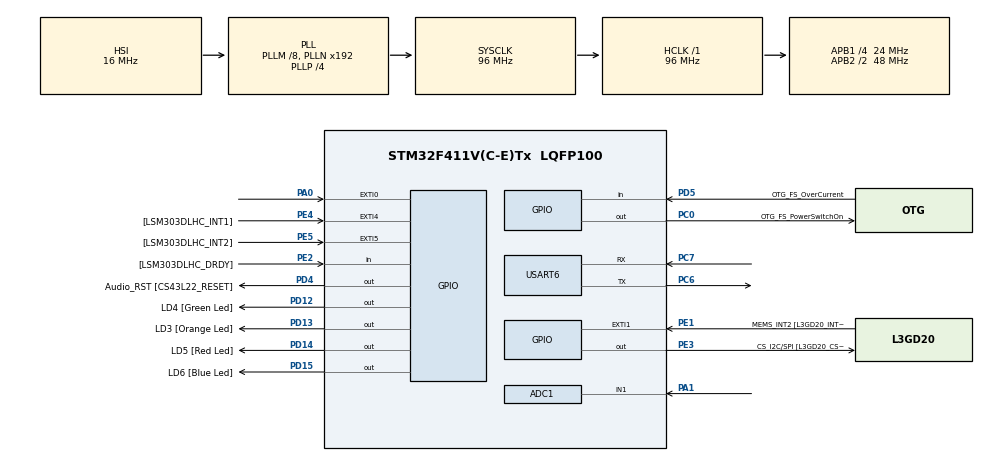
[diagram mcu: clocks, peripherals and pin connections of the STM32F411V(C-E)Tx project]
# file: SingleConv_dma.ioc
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ADC1.Channel-5\#ChannelRegularConversion=ADC_CHANNEL_1
ADC1.DMAContinuousRequests=ENABLE
ADC1.NbrOfConversionFlag=1
ADC1.Rank-5\#ChannelRegularConversion=1
ADC1.Resolution=ADC_RESOLUTION8b
ADC1.SamplingTime-5\#ChannelRegularConversion=ADC_SAMPLETIME_15CYCLES
ADC1.master=1
Dma.ADC1.0.Channel=DMA_CHANNEL_0
Dma.ADC1.0.Direction=DMA_PERIPH_TO_MEMORY
Dma.ADC1.0.FIFOMode=DMA_FIFOMODE_DISABLE
Dma.ADC1.0.Instance=DMA2_Stream0
Dma.ADC1.0.MemDataAlignment=DMA_MDATAALIGN_HALFWORD
Dma.ADC1.0.MemInc=DMA_MINC_ENABLE
Dma.ADC1.0.Mode=DMA_NORMAL
Dma.ADC1.0.PeriphDataAlignment=DMA_PDATAALIGN_HALFWORD
Dma.ADC1.0.PeriphInc=DMA_PINC_DISABLE
Dma.ADC1.0.Priority=DMA_PRIORITY_LOW
Dma.Request0=ADC1
Mcu.Family=STM32F4
Mcu.Name=STM32F411V(C-E)Tx
Mcu.Package=LQFP100
NVIC.ADC_IRQn=true\:0\:0\:false
NVIC.DMA2_Stream0_IRQn=true\:0\:0\:false
NVIC.PriorityGroup=NVIC_PRIORITYGROUP_0
PA0-WKUP.GPIO_ModeDefaultEXTI=GPIO_MODE_EVT_RISING
PA0-WKUP.Signal=GPXTI0
PA1.Signal=ADCx_IN1
PA10.GPIO_Label=OTG_FS_ID
PA10.Signal=USB_OTG_FS_ID
PA11.GPIO_Label=OTG_FS_DM
PA11.Signal=USB_OTG_FS_DM
PA12.GPIO_Label=OTG_FS_DP
PA12.Signal=USB_OTG_FS_DP
PA13.GPIO_Label=SWDIO
PA13.Signal=SYS_JTMS-SWDIO
PA14.GPIO_Label=SWCLK
PA14.Signal=SYS_JTCK-SWCLK
PA4.GPIO_Label=I2S3_WS [CS43L22_LRCK]
PA4.GPIO_Mode=GPIO_MODE_AF_PP
PA4.GPIO_PuPd=GPIO_NOPULL
PA4.GPIO_Speed=GPIO_SPEED_LOW
PA4.Signal=I2S3_WS
PA5.GPIO_Label=SPI1_SCK [L3GD20_SC/SPC]
PA5.Signal=SPI1_SCK
PA6.GPIO_Label=SPI1_MISO [L3GD20_AS0/SDO]
PA6.Signal=SPI1_MISO
PA7.GPIO_Label=SPI1_MOSI [L3GD20_SDA/SDI/SDO]
PA7.Signal=SPI1_MOSI
PA9.GPIO_Label=VBUS_FS
PA9.Signal=USB_OTG_FS_VBUS
PB10.GPIO_Label=CLK_IN [MP45DT02_CLK]
PB10.Signal=I2S2_CK
PB12.Signal=I2S2_WS
PB3.GPIO_Label=SWO
PB3.Signal=SYS_JTDO-SWO
PB6.GPIO_Label=Audio_SCL [CS43L22_SCL]
PB6.GPIO_Mode=GPIO_MODE_AF_OD
PB6.GPIO_PuPd=GPIO_NOPULL
PB6.GPIO_Speed=GPIO_SPEED_LOW
PB6.Signal=I2C1_SCL
PB9.GPIO_Label=Audio_SDA [CS43L22_SDA]
PB9.GPIO_Mode=GPIO_MODE_AF_OD
PB9.GPIO_PuPd=GPIO_NOPULL
PB9.GPIO_Speed=GPIO_SPEED_LOW
PB9.Signal=I2C1_SDA
PC0.GPIO_Label=OTG_FS_PowerSwitchOn
PC0.Signal=GPIO_Output
PC10.GPIO_Label=I2S3_SCK [CS43L22_SCLK]
PC10.GPIO_Mode=GPIO_MODE_AF_PP
PC10.GPIO_PuPd=GPIO_NOPULL
PC10.GPIO_Speed=GPIO_SPEED_LOW
PC10.Signal=I2S3_CK
PC12.GPIO_Label=I2S3_SD [CS43L22_SDIN]
PC12.GPIO_Mode=GPIO_MODE_AF_PP
PC12.GPIO_PuPd=GPIO_NOPULL
PC12.GPIO_Speed=GPIO_SPEED_LOW
PC12.Signal=I2S3_SD
PC14-OSC32_IN.GPIO_Label=PC14-OSC32_IN
PC14-OSC32_IN.Signal=RCC_OSC32_IN
PC15-OSC32_OUT.GPIO_Label=PC15-OSC32_OUT
PC15-OSC32_OUT.Signal=RCC_OSC32_OUT
PC3.GPIO_Label=PDM_OUT [MP45DT02_DOUT]
PC3.Signal=I2S2_SD
PC6.Mode=Asynchronous
PC6.Signal=USART6_TX
PC7.Mode=Asynchronous
PC7.Signal=USART6_RX
PD12.GPIO_Label=LD4 [Green Led]
PD12.GPIO_PuPd=GPIO_NOPULL
PD12.GPIO_Speed=GPIO_SPEED_LOW
PD12.Signal=GPIO_Output
PD13.GPIO_Label=LD3 [Orange Led]
PD13.GPIO_PuPd=GPIO_NOPULL
PD13.GPIO_Speed=GPIO_SPEED_LOW
PD13.Signal=GPIO_Output
PD14.GPIO_Label=LD5 [Red Led]
PD14.GPIO_PuPd=GPIO_NOPULL
PD14.GPIO_Speed=GPIO_SPEED_LOW
PD14.Signal=GPIO_Output
PD15.GPIO_Label=LD6 [Blue Led]
PD15.GPIO_PuPd=GPIO_NOPULL
PD15.GPIO_Speed=GPIO_SPEED_LOW
PD15.Signal=GPIO_Output
PD4.GPIO_Label=Audio_RST [CS43L22_RESET]
PD4.Signal=GPIO_Output
PD5.GPIO_Label=OTG_FS_OverCurrent
PD5.Signal=GPIO_Input
PE1.GPIO_Label=MEMS_INT2 [L3GD20_INT2]
PE1.GPIO_ModeDefaultEXTI=GPIO_MODE_EVT_RISING
PE1.Signal=GPXTI1
PE2.GPIO_Label=[LSM303DLHC_DRDY]
PE2.Signal=GPIO_Input
PE3.GPIO_Label=CS_I2C/SPI [L3GD20_CS_I2C/SPI]
PE3.Signal=GPIO_Output
PE4.GPIO_Label=[LSM303DLHC_INT1]
PE4.GPIO_ModeDefaultEXTI=GPIO_MODE_EVT_RISING
PE4.Signal=GPXTI4
PE5.GPIO_Label=[LSM303DLHC_INT2]
PE5.GPIO_ModeDefaultEXTI=GPIO_MODE_EVT_RISING
PE5.Signal=GPXTI5
PH0\ -\ OSC_IN.GPIO_Label=PH0-OSC_IN
PH0\ -\ OSC_IN.Signal=RCC_OSC_IN
PH1\ -\ OSC_OUT.GPIO_Label=PH1-OSC_OUT
PH1\ -\ OSC_OUT.Signal=RCC_OSC_OUT
ProjectManager.HeapSize=0x400
ProjectManager.StackSize=0x200
ProjectManager.TargetToolchain=TrueSTUDIO
RCC.48MHZClocksFreq_Value=48000000
RCC.AHBFreq_Value=96000000
RCC.APB1CLKDivider=RCC_HCLK_DIV4
RCC.APB1Freq_Value=24000000
RCC.APB1TimFreq_Value=48000000
RCC.APB2CLKDivider=RCC_HCLK_DIV2
RCC.APB2Freq_Value=48000000
RCC.APB2TimFreq_Value=96000000
RCC.CortexFreq_Value=96000000
RCC.HCLKFreq_Value=96000000
RCC.HSE_VALUE=8000000
RCC.HSI_VALUE=16000000
RCC.LSE_VALUE=32768
RCC.PLLI2SM=5
RCC.PLLI2SN=200
RCC.PLLM=8
RCC.PLLP=RCC_PLLP_DIV4
RCC.PLLQ=8
RCC.SYSCLKFreq_VALUE=96000000
RCC.SYSCLKSource=RCC_SYSCLKSOURCE_PLLCLK
RCC.VCOOutputFreq_Value=384000000
SH.ADCx_IN1.0=ADC1_IN1,IN1
board=STM32F411E-DISCO

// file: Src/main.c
/**
  ******************************************************************************
  * File Name          : main.c
  * Description        : Main program body
  ******************************************************************************
  *
  * COPYRIGHT(c) 2016 STMicroelectronics
  *
  * Redistribution and use in source and binary forms, with or without modification,
  * are permitted provided that the following conditions are met:
  *   1. Redistributions of source code must retain the above copyright notice,
  *      this list of conditions and the following disclaimer.
  *   2. Redistributions in binary form must reproduce the above copyright notice,
  *      this list of conditions and the following disclaimer in the documentation
  *      and/or other materials provided with the distribution.
  *   3. Neither the name of STMicroelectronics nor the names of its contributors
  *      may be used to endorse or promote products derived from this software
  *      without specific prior written permission.
  *
  * THIS SOFTWARE IS PROVIDED BY THE COPYRIGHT HOLDERS AND CONTRIBUTORS "AS IS"
  * AND ANY EXPRESS OR IMPLIED WARRANTIES, INCLUDING, BUT NOT LIMITED TO, THE
  * IMPLIED WARRANTIES OF MERCHANTABILITY AND FITNESS FOR A PARTICULAR PURPOSE ARE
  * DISCLAIMED. IN NO EVENT SHALL THE COPYRIGHT HOLDER OR CONTRIBUTORS BE LIABLE
  * FOR ANY DIRECT, INDIRECT, INCIDENTAL, SPECIAL, EXEMPLARY, OR CONSEQUENTIAL
  * DAMAGES (INCLUDING, BUT NOT LIMITED TO, PROCUREMENT OF SUBSTITUTE GOODS OR
  * SERVICES; LOSS OF USE, DATA, OR PROFITS; OR BUSINESS INTERRUPTION) HOWEVER
  * CAUSED AND ON ANY THEORY OF LIABILITY, WHETHER IN CONTRACT, STRICT LIABILITY,
  * OR TORT (INCLUDING NEGLIGENCE OR OTHERWISE) ARISING IN ANY WAY OUT OF THE USE
  * OF THIS SOFTWARE, EVEN IF ADVISED OF THE POSSIBILITY OF SUCH DAMAGE.
  *
  ******************************************************************************
  */
#include "stm32f4xx_hal.h"

/* USER CODE BEGIN Includes */
#include <string.h>
#include <stdio.h>
/* USER CODE END Includes */

ADC_HandleTypeDef hadc1;
DMA_HandleTypeDef hdma_adc1;

UART_HandleTypeDef huart6;

/* USER CODE BEGIN PV */
/* Private variables ---------------------------------------------------------*/

/* USER CODE END PV */

void SystemClock_Config(void);
static void MX_GPIO_Init(void);
static void MX_DMA_Init(void);
static void MX_ADC1_Init(void);
static void MX_USART6_UART_Init(void);

/* USER CODE BEGIN PFP */
/* Private function prototypes -----------------------------------------------*/

/* USER CODE END PFP */

int main(void)
{

  /* USER CODE BEGIN 1 */
	uint32_t dma_buffer = 0;
	uint32_t adc_buffer = 0;
	uint32_t achtbit = 255;
	char buffer[50] = {"stuff:"};
  /* USER CODE END 1 */

  /* MCU Configuration----------------------------------------------------------*/

  /* Reset of all peripherals, Initializes the Flash interface and the Systick. */
  HAL_Init();

  /* Configure the system clock */
  SystemClock_Config();

  /* Initialize all configured peripherals */
  MX_GPIO_Init();
  MX_DMA_Init();
  MX_ADC1_Init();
  MX_USART6_UART_Init();

  /* Infinite loop */
  while (1)
  {

  /* USER CODE BEGIN 3 */
	  if(HAL_GPIO_ReadPin(GPIOA,GPIO_PIN_0))
	  {
		  HAL_Delay(100);
		  HAL_ADC_Start(&hadc1);
		  HAL_ADC_Start_DMA(&hadc1, &dma_buffer, 8);
		  if(dma_buffer!= 0)
		  {
			  dma_buffer &= achtbit;
			  sprintf(buffer,"dma: %d\r\n",(int) dma_buffer);
			  HAL_UART_Transmit(&huart6,(uint8_t*) buffer,strlen(buffer),HAL_MAX_DELAY);
			  adc_buffer = HAL_ADC_GetValue(&hadc1);
			  sprintf(buffer,"adc: %d\r\n",(int) adc_buffer);
			  HAL_UART_Transmit(&huart6,(uint8_t*) buffer,strlen(buffer),HAL_MAX_DELAY);
		  }
		  else
		  {
			  HAL_UART_Transmit(&huart6,"nothing \r\n",strlen("nothing \r\n"),HAL_MAX_DELAY);
			  adc_buffer = HAL_ADC_GetValue(&hadc1);
			  sprintf(buffer,"adc: %d\r\n",(int) adc_buffer);
			  HAL_UART_Transmit(&huart6,(uint8_t*) buffer,strlen(buffer),HAL_MAX_DELAY);
		  }
	  }
  }
  /* USER CODE END 3 */

}

/** System Clock Configuration
*/
void SystemClock_Config(void)
{

  RCC_OscInitTypeDef RCC_OscInitStruct;
  RCC_ClkInitTypeDef RCC_ClkInitStruct;

  __PWR_CLK_ENABLE();

  __HAL_PWR_VOLTAGESCALING_CONFIG(PWR_REGULATOR_VOLTAGE_SCALE1);

  RCC_OscInitStruct.OscillatorType = RCC_OSCILLATORTYPE_HSI;
  RCC_OscInitStruct.HSIState = RCC_HSI_ON;
  RCC_OscInitStruct.HSICalibrationValue = 16;
  RCC_OscInitStruct.PLL.PLLState = RCC_PLL_ON;
  RCC_OscInitStruct.PLL.PLLSource = RCC_PLLSOURCE_HSI;
  RCC_OscInitStruct.PLL.PLLM = 8;
  RCC_OscInitStruct.PLL.PLLN = 192;
  RCC_OscInitStruct.PLL.PLLP = RCC_PLLP_DIV4;
  RCC_OscInitStruct.PLL.PLLQ = 8;
  HAL_RCC_OscConfig(&RCC_OscInitStruct);

  RCC_ClkInitStruct.ClockType = RCC_CLOCKTYPE_HCLK|RCC_CLOCKTYPE_SYSCLK
                              |RCC_CLOCKTYPE_PCLK1|RCC_CLOCKTYPE_PCLK2;
  RCC_ClkInitStruct.SYSCLKSource = RCC_SYSCLKSOURCE_PLLCLK;
  RCC_ClkInitStruct.AHBCLKDivider = RCC_SYSCLK_DIV1;
  RCC_ClkInitStruct.APB1CLKDivider = RCC_HCLK_DIV4;
  RCC_ClkInitStruct.APB2CLKDivider = RCC_HCLK_DIV2;
  HAL_RCC_ClockConfig(&RCC_ClkInitStruct, FLASH_LATENCY_3);

  HAL_SYSTICK_Config(HAL_RCC_GetHCLKFreq()/1000);

  HAL_SYSTICK_CLKSourceConfig(SYSTICK_CLKSOURCE_HCLK);

  /* SysTick_IRQn interrupt configuration */
  HAL_NVIC_SetPriority(SysTick_IRQn, 0, 0);
}

/* ADC1 init function */
void MX_ADC1_Init(void)
{

  ADC_ChannelConfTypeDef sConfig;

    /**Configure the global features of the ADC (Clock, Resolution, Data Alignment and number of conversion)
    */
  hadc1.Instance = ADC1;
  hadc1.Init.ClockPrescaler = ADC_CLOCKPRESCALER_PCLK_DIV2;
  hadc1.Init.Resolution = ADC_RESOLUTION8b;
  hadc1.Init.ScanConvMode = DISABLE;
  hadc1.Init.ContinuousConvMode = DISABLE;
  hadc1.Init.DiscontinuousConvMode = DISABLE;
  hadc1.Init.ExternalTrigConvEdge = ADC_EXTERNALTRIGCONVEDGE_NONE;
  hadc1.Init.DataAlign = ADC_DATAALIGN_RIGHT;
  hadc1.Init.NbrOfConversion = 1;
  hadc1.Init.DMAContinuousRequests = ENABLE;
  hadc1.Init.EOCSelection = EOC_SINGLE_CONV;
  HAL_ADC_Init(&hadc1);

    /**Configure for the selected ADC regular channel its corresponding rank in the sequencer and its sample time.
    */
  sConfig.Channel = ADC_CHANNEL_1;
  sConfig.Rank = 1;
  sConfig.SamplingTime = ADC_SAMPLETIME_15CYCLES;
  HAL_ADC_ConfigChannel(&hadc1, &sConfig);

}

/* USART6 init function */
void MX_USART6_UART_Init(void)
{

  huart6.Instance = USART6;
  huart6.Init.BaudRate = 115200;
  huart6.Init.WordLength = UART_WORDLENGTH_8B;
  huart6.Init.StopBits = UART_STOPBITS_1;
  huart6.Init.Parity = UART_PARITY_NONE;
  huart6.Init.Mode = UART_MODE_TX_RX;
  huart6.Init.HwFlowCtl = UART_HWCONTROL_NONE;
  huart6.Init.OverSampling = UART_OVERSAMPLING_16;
  HAL_UART_Init(&huart6);

}

void MX_DMA_Init(void)
{
  /* DMA controller clock enable */
  __DMA2_CLK_ENABLE();

  /* DMA interrupt init */
  HAL_NVIC_SetPriority(DMA2_Stream0_IRQn, 0, 0);
  HAL_NVIC_EnableIRQ(DMA2_Stream0_IRQn);

}

/** Configure pins as
        * Analog
        * Input
        * Output
        * EVENT_OUT
        * EXTI
     PC3   ------> I2S2_SD
     PA4   ------> I2S3_WS
     PA5   ------> SPI1_SCK
     PA6   ------> SPI1_MISO
     PA7   ------> SPI1_MOSI
     PB10   ------> I2S2_CK
     PB12   ------> I2S2_WS
     PA9   ------> USB_OTG_FS_VBUS
     PA10   ------> USB_OTG_FS_ID
     PA11   ------> USB_OTG_FS_DM
     PA12   ------> USB_OTG_FS_DP
     PC10   ------> I2S3_CK
     PC12   ------> I2S3_SD
     PB6   ------> I2C1_SCL
     PB9   ------> I2C1_SDA
*/
void MX_GPIO_Init(void)
{

  GPIO_InitTypeDef GPIO_InitStruct;

  /* GPIO Ports Clock Enable */
  __GPIOE_CLK_ENABLE();
  __GPIOC_CLK_ENABLE();
  __GPIOH_CLK_ENABLE();
  __GPIOA_CLK_ENABLE();
  __GPIOB_CLK_ENABLE();
  __GPIOD_CLK_ENABLE();

  /*Configure GPIO pin : PE2 */
  GPIO_InitStruct.Pin = GPIO_PIN_2;
  GPIO_InitStruct.Mode = GPIO_MODE_INPUT;
  GPIO_InitStruct.Pull = GPIO_NOPULL;
  HAL_GPIO_Init(GPIOE, &GPIO_InitStruct);

  /*Configure GPIO pin : CS_I2C_SPI_Pin */
  GPIO_InitStruct.Pin = CS_I2C_SPI_Pin;
  GPIO_InitStruct.Mode = GPIO_MODE_OUTPUT_PP;
  GPIO_InitStruct.Pull = GPIO_NOPULL;
  GPIO_InitStruct.Speed = GPIO_SPEED_LOW;
  HAL_GPIO_Init(CS_I2C_SPI_GPIO_Port, &GPIO_InitStruct);

  /*Configure GPIO pins : PE4 PE5 MEMS_INT2_Pin */
  GPIO_InitStruct.Pin = GPIO_PIN_4|GPIO_PIN_5|MEMS_INT2_Pin;
  GPIO_InitStruct.Mode = GPIO_MODE_EVT_RISING;
  GPIO_InitStruct.Pull = GPIO_NOPULL;
  HAL_GPIO_Init(GPIOE, &GPIO_InitStruct);

  /*Configure GPIO pin : OTG_FS_PowerSwitchOn_Pin */
  GPIO_InitStruct.Pin = OTG_FS_PowerSwitchOn_Pin;
  GPIO_InitStruct.Mode = GPIO_MODE_OUTPUT_PP;
  GPIO_InitStruct.Pull = GPIO_NOPULL;
  GPIO_InitStruct.Speed = GPIO_SPEED_LOW;
  HAL_GPIO_Init(OTG_FS_PowerSwitchOn_GPIO_Port, &GPIO_InitStruct);

  /*Configure GPIO pin : PDM_OUT_Pin */
  GPIO_InitStruct.Pin = PDM_OUT_Pin;
  GPIO_InitStruct.Mode = GPIO_MODE_AF_PP;
  GPIO_InitStruct.Pull = GPIO_NOPULL;
  GPIO_InitStruct.Speed = GPIO_SPEED_LOW;
  GPIO_InitStruct.Alternate = GPIO_AF5_SPI2;
  HAL_GPIO_Init(PDM_OUT_GPIO_Port, &GPIO_InitStruct);

  /*Configure GPIO pin : PA0 */
  GPIO_InitStruct.Pin = GPIO_PIN_0;
  GPIO_InitStruct.Mode = GPIO_MODE_EVT_RISING;
  GPIO_InitStruct.Pull = GPIO_NOPULL;
  HAL_GPIO_Init(GPIOA, &GPIO_InitStruct);

  /*Configure GPIO pin : PA4 */
  GPIO_InitStruct.Pin = GPIO_PIN_4;
  GPIO_InitStruct.Mode = GPIO_MODE_AF_PP;
  GPIO_InitStruct.Pull = GPIO_NOPULL;
  GPIO_InitStruct.Speed = GPIO_SPEED_LOW;
  GPIO_InitStruct.Alternate = GPIO_AF6_SPI3;
  HAL_GPIO_Init(GPIOA, &GPIO_InitStruct);

  /*Configure GPIO pins : PA5 PA6 PA7 */
  GPIO_InitStruct.Pin = GPIO_PIN_5|GPIO_PIN_6|GPIO_PIN_7;
  GPIO_InitStruct.Mode = GPIO_MODE_AF_PP;
  GPIO_InitStruct.Pull = GPIO_NOPULL;
  GPIO_InitStruct.Speed = GPIO_SPEED_HIGH;
  GPIO_InitStruct.Alternate = GPIO_AF5_SPI1;
  HAL_GPIO_Init(GPIOA, &GPIO_InitStruct);

  /*Configure GPIO pins : CLK_IN_Pin PB12 */
  GPIO_InitStruct.Pin = CLK_IN_Pin|GPIO_PIN_12;
  GPIO_InitStruct.Mode = GPIO_MODE_AF_PP;
  GPIO_InitStruct.Pull = GPIO_NOPULL;
  GPIO_InitStruct.Speed = GPIO_SPEED_LOW;
  GPIO_InitStruct.Alternate = GPIO_AF5_SPI2;
  HAL_GPIO_Init(GPIOB, &GPIO_InitStruct);

  /*Configure GPIO pins : LD4_Pin LD3_Pin LD5_Pin LD6_Pin
                           Audio_RST_Pin */
  GPIO_InitStruct.Pin = LD4_Pin|LD3_Pin|LD5_Pin|LD6_Pin
                          |Audio_RST_Pin;
  GPIO_InitStruct.Mode = GPIO_MODE_OUTPUT_PP;
  GPIO_InitStruct.Pull = GPIO_NOPULL;
  GPIO_InitStruct.Speed = GPIO_SPEED_LOW;
  HAL_GPIO_Init(GPIOD, &GPIO_InitStruct);

  /*Configure GPIO pin : VBUS_FS_Pin */
  GPIO_InitStruct.Pin = VBUS_FS_Pin;
  GPIO_InitStruct.Mode = GPIO_MODE_INPUT;
  GPIO_InitStruct.Pull = GPIO_NOPULL;
  HAL_GPIO_Init(VBUS_FS_GPIO_Port, &GPIO_InitStruct);

  /*Configure GPIO pins : OTG_FS_ID_Pin OTG_FS_DM_Pin OTG_FS_DP_Pin */
  GPIO_InitStruct.Pin = OTG_FS_ID_Pin|OTG_FS_DM_Pin|OTG_FS_DP_Pin;
  GPIO_InitStruct.Mode = GPIO_MODE_AF_PP;
  GPIO_InitStruct.Pull = GPIO_NOPULL;
  GPIO_InitStruct.Speed = GPIO_SPEED_HIGH;
  GPIO_InitStruct.Alternate = GPIO_AF10_OTG_FS;
  HAL_GPIO_Init(GPIOA, &GPIO_InitStruct);

  /*Configure GPIO pins : I2S3_SCK_Pin PC12 */
  GPIO_InitStruct.Pin = I2S3_SCK_Pin|GPIO_PIN_12;
  GPIO_InitStruct.Mode = GPIO_MODE_AF_PP;
  GPIO_InitStruct.Pull = GPIO_NOPULL;
  GPIO_InitStruct.Speed = GPIO_SPEED_LOW;
  GPIO_InitStruct.Alternate = GPIO_AF6_SPI3;
  HAL_GPIO_Init(GPIOC, &GPIO_InitStruct);

  /*Configure GPIO pin : OTG_FS_OverCurrent_Pin */
  GPIO_InitStruct.Pin = OTG_FS_OverCurrent_Pin;
  GPIO_InitStruct.Mode = GPIO_MODE_INPUT;
  GPIO_InitStruct.Pull = GPIO_NOPULL;
  HAL_GPIO_Init(OTG_FS_OverCurrent_GPIO_Port, &GPIO_InitStruct);

  /*Configure GPIO pins : Audio_SCL_Pin Audio_SDA_Pin */
  GPIO_InitStruct.Pin = Audio_SCL_Pin|Audio_SDA_Pin;
  GPIO_InitStruct.Mode = GPIO_MODE_AF_OD;
  GPIO_InitStruct.Pull = GPIO_PULLUP;
  GPIO_InitStruct.Speed = GPIO_SPEED_LOW;
  GPIO_InitStruct.Alternate = GPIO_AF4_I2C1;
  HAL_GPIO_Init(GPIOB, &GPIO_InitStruct);

  /*Configure GPIO pin Output Level */
  HAL_GPIO_WritePin(CS_I2C_SPI_GPIO_Port, CS_I2C_SPI_Pin, GPIO_PIN_RESET);

  /*Configure GPIO pin Output Level */
  HAL_GPIO_WritePin(OTG_FS_PowerSwitchOn_GPIO_Port, OTG_FS_PowerSwitchOn_Pin, GPIO_PIN_RESET);

  /*Configure GPIO pin Output Level */
  HAL_GPIO_WritePin(GPIOD, LD4_Pin|LD3_Pin|LD5_Pin|LD6_Pin
                          |Audio_RST_Pin, GPIO_PIN_RESET);

}

/************************ (C) COPYRIGHT STMicroelectronics *****END OF FILE****/
